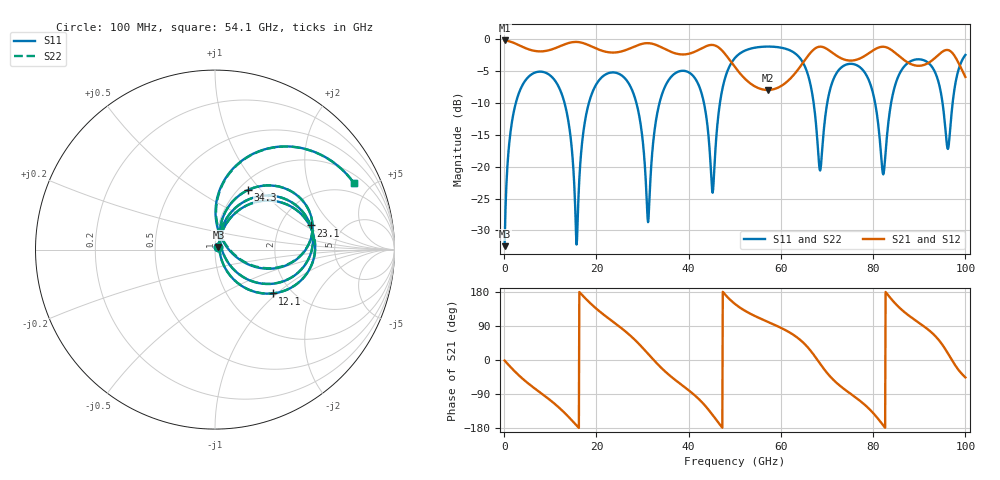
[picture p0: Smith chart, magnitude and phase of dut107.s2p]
! Touchstone file exported from HFSS 2026.1.0
!  File:  C:/ffzhzh/LocalFiles/Ansys_Project_Files/temp_train_TSV_RDL_107_1783456530_28540.aedt
!  Generated:  04:48:46 AM Jul  8, 2026
!  Design:  TSV_RDL
!  Project:  temp_train_TSV_RDL_107_1783456530_28540
! Variables:
!  h_bsmrdl = 3.11um
!  h_ox = 20um
!  h_rdl = 5um
!  h_sub = 83.15um
!  h_tmrdl = 4.21um
!  h_tsv = 83.15um
!  h_via = 3um
!  l_bsmrdl = 472.52um
!  l_sub = 3597.7um
!  l_tmrdl = 415.62um
!  m_sub = 200um
!  pitch = 50.1um
!  r_tsv = 6.72um
!  s_tmrdl = 10um
!  w_bsmrdl = 25.73um
!  w_sub = 500um
!  w_tmrdl = 13.49um
!  x_tsv_center1 = 422.365um
!  x_tsv_center2 = 920.615um
!  x_tsv_center3 = 1349.725um
!  x_tsv_center4 = 1847.975um
!  x_tsv_center5 = 2277.085um
!  x_tsv_center6 = 2775.335um
# GHz S MA R 50.000000
! Terminal data exported
! Port[1] = TM_RDL1_1_T1
! Port[2] = TM_RDL5_1_T1
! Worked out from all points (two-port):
!   1000 points, 100 MHz to 100 GHz, reference 50 ohm
!   highest |S21| = -0.16 dB at 100 MHz (marker M1); lowest = -7.9 dB at 57.1 GHz (marker M2)
!   |S21| within 3 dB of the highest: start of sweep to 48.82 GHz; 76.52 GHz to 86.56 GHz (10.03 GHz wide, 12.3 % of centre)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
!   lowest |S11| = -32.5 dB at 100 MHz (marker M3), VSWR 1.05, Z = 51.9 + j1.49 ohm
!   |S11| at or under -10 dB: 13.1 GHz to 18.37 GHz (5.269 GHz wide, 33.5 % of centre); 28.67 GHz to 33.68 GHz (5 GHz wide, 16 % of centre); 43.32 GHz to 46.78 GHz (3.458 GHz wide, 7.68 % of centre)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
!   |S22| runs from -32.5 to -1.1 dB; largest |S21 - S12| = 8.6e-13
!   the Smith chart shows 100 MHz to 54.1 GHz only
!   S11 on the Smith chart (normalised r, x): 100 MHz: 1.04, +0.03; 12.1 GHz: 1.61, -0.94; 23.1 GHz: 2.95, +1.14; 34.3 GHz: 1.10, +0.85; 54.1 GHz: 1.39, +3.91
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0.1  0.02375 37.2  0.9813 -1.4  0.9813 -1.4  0.02375 37.2
! Gamma 0 0 0 0
! Port Impedance 50 0 50 0
3.4  0.3953 43.7  0.8942 -42.8  0.8942 -42.8  0.3953 43.7
12.1  0.404 -37.2  0.8835 -127.8  0.8835 -127.8  0.404 -37.2
15.6  0.02881 -25.2  0.9556 -171.4  0.9556 -171.4  0.02877 -25.2
16.8  0.1423 71.8  0.9427 172.9  0.9427 172.9  0.1423 71.8
23.1  0.5488 14.2  0.7894 105.5  0.7894 105.5  0.5488 14.3
28.5  0.3334 -34.9  0.887 51.3  0.887 51.3  0.3334 -34.8
31.2  0.03669 14.8  0.9344 16.4  0.9344 16.4  0.0369 15.0
33.4  0.2866 69.8  0.891 -12.6  0.891 -12.6  0.2867 69.9
34.3  0.3774 61.2  0.8597 -23.5  0.8597 -23.5  0.3774 61.3
41.6  0.4809 -3.8  0.8083 -96.2  0.8083 -96.2  0.4809 -3.5
45.2  0.06247 33.6  0.9046 -145.2  0.9046 -145.2  0.06583 33.8
50.1  0.7193 52.8  0.6017 147.4  0.6017 147.4  0.7196 52.7
54.1  0.8577 25.7  0.4329 117.7  0.4329 117.7  0.8578 25.7
57.1  0.8786 10.5  0.4006 101.0  0.4006 101.0  0.8786 10.5
66.7  0.392 -56.5  0.8058 20.5  0.8058 20.5  0.3922 -56.4
68.5  0.09327 -7.5  0.8773 -9.8  0.8773 -9.8  0.09385 -7.5
73.8  0.6261 10.3  0.6938 -77.4  0.6938 -77.4  0.626 10.3
83.4  0.2392 57.6  0.8505 168.8  0.8505 168.8  0.2394 57.5
93.6  0.5338 -20.6  0.7249 61.5  0.7249 61.5  0.5335 -20.7
96.2  0.1379 14.8  0.8257 17.6  0.8257 17.6  0.1363 14.9
100  0.755 35.2  0.5068 -46.1  0.5068 -46.1  0.7548 35.3
